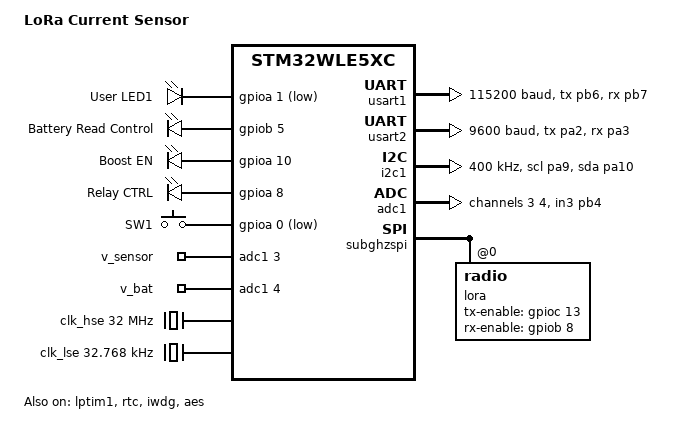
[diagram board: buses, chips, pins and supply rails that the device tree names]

/dts-v1/;
#include <zephyr/dt-bindings/input/input-event-codes.h>
#include <st/wl/stm32wle5Xc.dtsi>
#include <st/wl/stm32wle5ccux-pinctrl.dtsi>

/ {
	model = "LoRa Current Sensor";
	compatible = "CyberJungle,waterlevel_lora";

	chosen {
		zephyr,console = &usart1;
		zephyr,shell-uart = &usart1;
		zephyr,sram = &sram0;
		zephyr,flash = &flash0;
		zephyr,code-partition = &flash0;
	};

	leds {
		compatible = "gpio-leds";
		led_1: led_0 {
			gpios = <&gpioa 1 GPIO_ACTIVE_LOW>;
			label = "User LED1";
		};
		bat_read_ctrl: bat_read_ctrl {
            gpios = <&gpiob 5 GPIO_ACTIVE_HIGH>;
            label = "Battery Read Control";
        };
		boost_en: boost_en {
			gpios = <&gpioa 10 GPIO_ACTIVE_HIGH>;
			label = "Boost EN";
		};
		relay_ctrl: relay_ctrl {
			gpios = <&gpioa 8 GPIO_ACTIVE_HIGH>;
			label = "Relay CTRL";
		};

	};

	gpio_keys {
		compatible = "gpio-keys";
		user_button: button_0 {
			label = "SW1";
			gpios = <&gpioa 0 (GPIO_ACTIVE_LOW | GPIO_PULL_UP)>;
			zephyr,code = <INPUT_KEY_0>;
		};
	};

	aliases {
		led0 = &led_1;
		sw0 = &user_button;
		lora0 = &lora;
		watchdog0 = &iwdg;
		batread = &bat_read_ctrl;
		boost = &boost_en;
		relay = &relay_ctrl;
	};

	zephyr,user {
		/* adjust channel number according to pinmux in board.dts */
		io-channels = <&adc1 3>, <&adc1 4>;
		io-channel-names = "v_sensor", "v_bat";
	};

};

// Stop2 caused console and ADC to hang device
&cpu0 {
	cpu-power-states = <&stop0 &stop1>;
};

&lptim1 {
	status = "okay";
	clocks = <&rcc STM32_CLOCK_BUS_APB1 0x80000000>,
		<&rcc STM32_SRC_LSE LPTIM1_SEL(3)>; // LPTIM_SEL switched from 1 to 3 for LSE
};

// Added 
&clk_hse {
	clock-frequency = <DT_FREQ_M(32)>;
	hse-tcxo;
};

&clk_lse {
	status = "okay";
	clock-frequency = <32768>;
};


&clk_msi {
	status = "okay";
	msi-range = <11>;
	msi-pll-mode; // Enable MSI hardware auto calibration
};

&rcc {
	clocks = <&clk_msi>;
	clock-frequency = <DT_FREQ_M(48)>;
	cpu1-prescaler = <1>;
	ahb3-prescaler = <1>;
	apb1-prescaler = <1>;
	apb2-prescaler = <1>;
};

&usart1 {
	pinctrl-0 = <&usart1_tx_pb6 &usart1_rx_pb7>;
	pinctrl-names = "default";
	current-speed = <115200>;
};

&usart2 {
	pinctrl-0 = <&usart2_tx_pa2 &usart2_rx_pa3>;
	pinctrl-names = "default";
	current-speed = <9600>;
	/* PB4 can select RS-485 TX, when J17 (A4) is closed */
};

&i2c1 {
	pinctrl-0 = <&i2c1_scl_pa9 &i2c1_sda_pa10>;
	pinctrl-names = "default";
	clock-frequency = <I2C_BITRATE_FAST>;
	/* LM75ADP temperature sensor on addr 0x48 */
};

&rtc {
	clocks = <&rcc STM32_CLOCK_BUS_APB1 0x00000400>,
		 <&rcc STM32_SRC_LSE RTC_SEL(1)>; // RTC_SEL switched from 2 to 1 for LSE
	status = "okay";
};

&iwdg {
	status = "okay";
};

&adc1 {
	pinctrl-0 = <&adc_in3_pb4>;
	pinctrl-names = "default";
	st,adc-clock-source = "SYNC";
	st,adc-prescaler = <4>;

	#address-cells = <1>;
	#size-cells = <0>;
	status = "okay";

	channel@3 {
		reg = <3>;
		zephyr,gain = "ADC_GAIN_1";
		zephyr,reference = "ADC_REF_INTERNAL";
		zephyr,acquisition-time = <ADC_ACQ_TIME_DEFAULT>;
		zephyr,resolution = <8>;
	};
	channel@4 {
		reg = <4>;
		zephyr,gain = "ADC_GAIN_1";
		zephyr,reference = "ADC_REF_INTERNAL";
		zephyr,acquisition-time = <ADC_ACQ_TIME_DEFAULT>;
		zephyr,resolution = <8>;
	};
};

&subghzspi {
	status = "okay";
	lora: radio@0 {
		status = "okay";
		tx-enable-gpios = <&gpioc 13 GPIO_ACTIVE_HIGH>; 
		rx-enable-gpios = <&gpiob 8 GPIO_ACTIVE_HIGH>;
		dio3-tcxo-voltage = <SX126X_DIO3_TCXO_3V0>;
		tcxo-power-startup-delay-ms = <5>; 
		power-amplifier-output = "rfo-hp";
		rfo-hp-max-power = <22>;
	};
};

&aes {
	status = "okay";
};

&flash0 {
	partitions {
		compatible = "fixed-partitions";
		#address-cells = <1>;
		#size-cells = <1>;

		/* 16KB (8x2kB pages) of storage at the end of the flash */
		storage_partition: partition@3c000 {
			label = "storage";
			reg = <0x0003c000 DT_SIZE_K(16)>;
		};
	};
};

/*
 * Other Pins:
 * Not assigned:  None
 * Debug:         PA13(swdio), PA14(swclk)
 */
